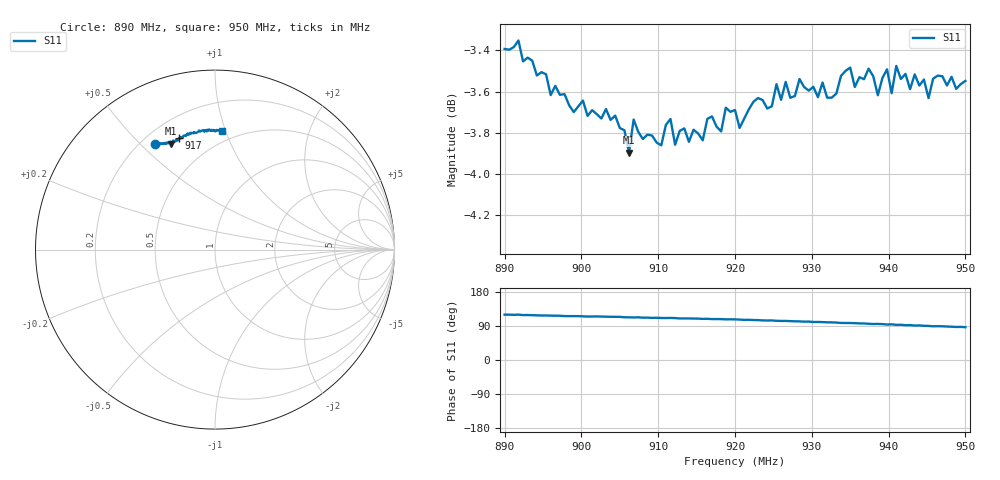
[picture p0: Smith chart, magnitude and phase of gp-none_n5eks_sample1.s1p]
# HZ S RI R 50
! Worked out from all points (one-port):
!   101 points, 890 MHz to 950 MHz, reference 50 ohm
!   lowest |S11| = -3.9 dB at 906.2 MHz (marker M1), VSWR 4.53, Z = 15.6 + j31.1 ohm
!   |S11| at or under -10 dB: nowhere
!   S11 on the Smith chart (normalised r, x): 890 MHz: 0.25, +0.55; 917 MHz: 0.32, +0.68; 950 MHz: 0.41, +0.97
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8.9e8  -0.3344 0.5882
8.918e8  -0.3377 0.59
8.924e8  -0.3205 0.5906
8.978e8  -0.2879 0.5936
9.05e8  -0.2612 0.5923
9.062e8  -0.2452 0.5895
9.068e8  -0.2466 0.6018
9.104e8  -0.228 0.5992
9.116e8  -0.2329 0.6075
9.122e8  -0.2261 0.6001
9.128e8  -0.2173 0.6087
9.17e8  -0.2011 0.6198
9.2e8  -0.1928 0.6248
9.278e8  -0.1378 0.6445
9.326e8  -0.1067 0.6497
9.338e8  -0.0902 0.6604
9.35e8  -0.0884 0.6637
9.374e8  -0.0652 0.666
9.386e8  -0.0593 0.6566
9.398e8  -0.0425 0.6676
9.404e8  -0.0468 0.6584
9.41e8  -0.0327 0.6694
9.416e8  -0.0356 0.6644
9.422e8  -0.0208 0.6669
9.428e8  -0.0236 0.6612
9.458e8  0.0117 0.6654
9.47e8  0.0124 0.6663
9.5e8  0.0403 0.6634
